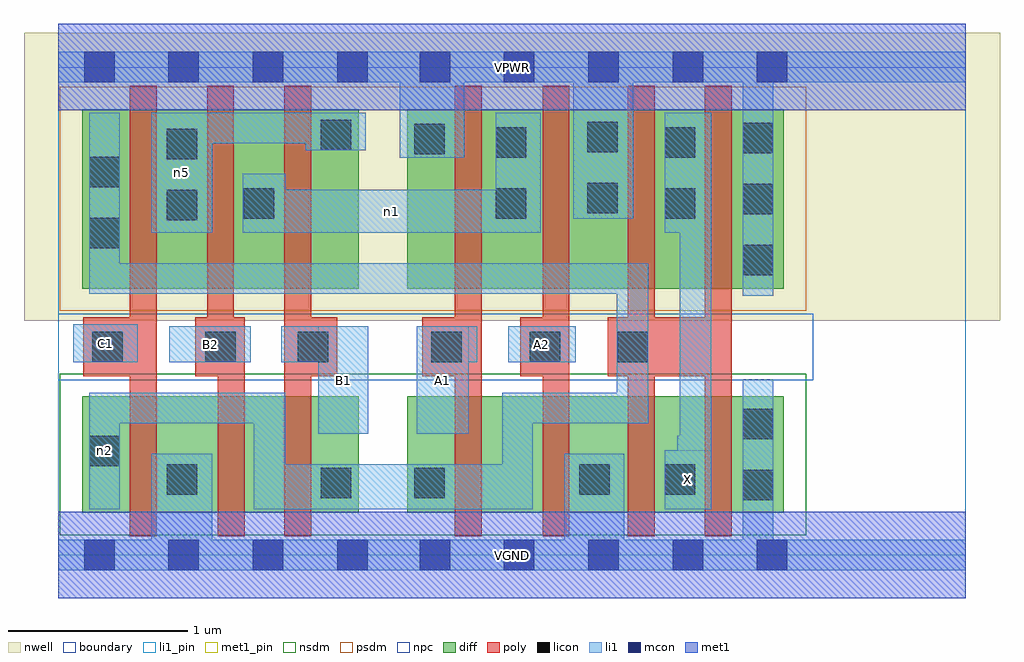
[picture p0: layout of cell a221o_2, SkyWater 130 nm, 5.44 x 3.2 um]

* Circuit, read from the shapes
.subckt a221o_2 A1 A2 B1 B2 C1 VGND VPWR X n1 n2 n5
XM1 VGND C1 n2 VSUBS sky130_fd_pr__nfet_01v8 w=0.65 l=0.15
XM2 n3 B2 VGND VSUBS sky130_fd_pr__nfet_01v8 w=0.65 l=0.15
XM3 n2 B1 n3 VSUBS sky130_fd_pr__nfet_01v8 w=0.65 l=0.15
XM4 n4 A1 n2 VSUBS sky130_fd_pr__nfet_01v8 w=0.65 l=0.15
XM5 VGND A2 n4 VSUBS sky130_fd_pr__nfet_01v8 w=0.65 l=0.15
XM6 X n2 VGND VSUBS sky130_fd_pr__nfet_01v8 w=0.65 l=0.15 m=2
XM7 n5 C1 n2 n6 sky130_fd_pr__pfet_01v8 w=1 l=0.15
XM8 n1 B2 n5 n6 sky130_fd_pr__pfet_01v8 w=1 l=0.15
XM9 n5 B1 n1 n6 sky130_fd_pr__pfet_01v8 w=1 l=0.15
XM10 n1 A1 VPWR n6 sky130_fd_pr__pfet_01v8 w=1 l=0.15
XM11 VPWR A2 n1 n6 sky130_fd_pr__pfet_01v8 w=1 l=0.15
XM12 X n2 VPWR n6 sky130_fd_pr__pfet_01v8 w=1 l=0.15 m=2
.ends

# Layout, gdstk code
import gdstk
lib = gdstk.Library(unit=1e-6, precision=1e-09)
def R(c, l, rs):  # rectangles x0, y0, x1, y1
    for r in rs: c.add(gdstk.rectangle(r[:2], r[2:], *l))
def A(c, l, x, y, w, h, nx, ny, dx, dy):  # array of equal rectangles
    R(c, l, [(x+i*dx, y+j*dy, x+i*dx+w, y+j*dy+h) for i in range(nx) for j in range(ny)])
nwell = (64, 20)
diff = (65, 20)
poly = (66, 20)
licon = (66, 44)
li1_pin = (67, 16)
li1 = (67, 20)
mcon = (67, 44)
met1_pin = (68, 16)
met1 = (68, 20)
nsdm = (93, 44)
psdm = (94, 20)
npc = (95, 20)
boundary = (235, 4)

a221o_2 = lib.new_cell('a221o_2')
R(a221o_2, nwell, [(-0.19,1.305,5.25,2.91), (0,1.305,5.06,2.91)])
R(a221o_2, diff, [(0.135,0.235,1.675,0.885), (1.945,0.235,4.045,0.885), (0.135,1.485,1.675,2.485), (1.945,1.485,4.045,2.485)])
R(a221o_2, poly, [(0.4,0.105,0.55,2.615), (0.89,0.105,1.04,1.325), (1.26,0.105,1.41,2.615), (2.21,0.105,2.36,2.615), (2.7,0.105,2.85,2.615), (3.175,0.105,3.325,2.615), (3.605,0.105,3.755,2.615), (0.14,0.995,0.55,1.325), (0.765,0.995,1.04,1.325), (0.83,0.995,0.98,2.615), (1.26,0.995,1.555,1.325), (2.03,0.995,2.36,1.325), (2.575,0.995,2.85,1.325), (3.065,0.995,3.755,1.325)])
A(a221o_2, licon, 3.815, 1.56, 0.17, 0.17, 1, 3, 0, 0.34)
R(a221o_2, licon, [(3.815,0.305,3.985,0.475), (1.465,0.315,1.635,0.485), (1.985,0.315,2.155,0.485), (0.605,0.335,0.775,0.505), (2.905,0.335,3.075,0.505), (3.38,0.335,3.55,0.505), (0.175,0.495,0.345,0.665), (3.815,0.645,3.985,0.815), (0.19,1.075,0.36,1.245), (0.82,1.075,0.99,1.245), (1.335,1.075,1.505,1.245), (2.08,1.075,2.25,1.245), (2.63,1.075,2.8,1.245), (3.12,1.075,3.29,1.245), (0.175,1.71,0.345,1.88), (0.605,1.865,0.775,2.035), (1.035,1.875,1.205,2.045), (2.44,1.875,2.61,2.045), (3.38,1.875,3.55,2.045), (2.95,1.905,3.12,2.075), (0.175,2.05,0.345,2.22), (0.605,2.205,0.775,2.375), (2.44,2.215,2.61,2.385), (3.38,2.215,3.55,2.385), (1.985,2.235,2.155,2.405), (2.95,2.245,3.12,2.415), (1.465,2.255,1.635,2.425)])
R(a221o_2, li1_pin, [(3.38,0.255,3.64,0.585), (1.45,0.675,1.73,1.275), (2,0.675,2.29,1.275), (0.085,1.075,0.445,1.285), (0.62,1.075,1.075,1.275), (2.51,1.075,2.885,1.275)])
R(a221o_2, li1, [(0,-0.085,5.06,0.085), (0.52,-0.085,0.86,0.565), (2.82,-0.085,3.155,0.565), (3.815,-0.085,3.985,0.98), (0.175,0.255,0.345,0.905), (1.09,0.255,2.645,0.505), (1.09,0.255,1.265,0.905), (2.475,0.255,2.645,0.905), (3.38,0.255,3.64,0.585), (3.45,0.255,3.64,0.665), (3.465,0.255,3.64,2.465), (1.45,0.675,1.73,1.275), (2,0.675,2.29,1.275), (0.175,0.735,1.265,0.905), (2.475,0.735,3.29,0.905), (3.115,0.735,3.29,1.625), (0.085,1.075,0.445,1.285), (0.62,1.075,1.075,1.275), (1.245,1.075,1.73,1.275), (2,1.075,2.335,1.275), (2.51,1.075,2.885,1.275), (3.815,1.445,3.985,2.805), (0.175,1.455,3.29,1.625), (0.175,1.455,0.345,2.465), (0.52,1.795,0.86,2.465), (1.03,1.795,2.69,2.035), (1.03,1.795,1.27,2.125), (2.44,1.795,2.69,2.465), (3.38,1.795,3.64,2.465), (2.87,1.875,3.205,2.805), (1.905,2.215,2.265,2.805), (1.38,2.255,1.715,2.465), (0.52,2.295,1.715,2.465), (0,2.635,5.06,2.805)])
A(a221o_2, mcon, 0.145, -0.085, 0.17, 0.17, 4, 2, 0.47, 2.72)
A(a221o_2, mcon, 2.015, -0.085, 0.17, 0.17, 5, 2, 0.47, 2.72)
R(a221o_2, met1_pin, [(0,-0.24,5.06,0.24), (0,2.48,5.06,2.96)])
R(a221o_2, met1, [(0,-0.24,5.06,0.24), (0,2.48,5.06,2.96)])
R(a221o_2, nsdm, [(0.01,0.11,4.17,1.01)])
R(a221o_2, psdm, [(0.01,1.36,4.17,2.61)])
R(a221o_2, npc, [(0,0.975,4.21,1.345)])
R(a221o_2, boundary, [(0,0,5.06,2.72)])
a221o_2.add(gdstk.Label('A1', (2.145,0.975), layer=67, texttype=5))
a221o_2.add(gdstk.Label('A2', (2.697,1.175), layer=67, texttype=5))
a221o_2.add(gdstk.Label('B1', (1.59,0.975), layer=67, texttype=5))
a221o_2.add(gdstk.Label('B2', (0.847,1.175), layer=67, texttype=5))
a221o_2.add(gdstk.Label('C1', (0.265,1.18), layer=67, texttype=5))
a221o_2.add(gdstk.Label('X', (3.51,0.42), layer=67, texttype=5))
a221o_2.add(gdstk.Label('n2', (0.26,0.58), layer=67, texttype=5))
a221o_2.add(gdstk.Label('n5', (0.69,2.13), layer=67, texttype=5))
a221o_2.add(gdstk.Label('n1', (1.86,1.915), layer=67, texttype=5))
a221o_2.add(gdstk.Label('VPWR', (2.53,2.72), layer=68, texttype=5))
a221o_2.add(gdstk.Label('VGND', (2.53,0), layer=68, texttype=5))
a221o_2.add(gdstk.Label('A1', (2.145,0.975), layer=67, texttype=16))
a221o_2.add(gdstk.Label('A2', (2.697,1.175), layer=67, texttype=16))
a221o_2.add(gdstk.Label('B1', (1.59,0.975), layer=67, texttype=16))
a221o_2.add(gdstk.Label('B2', (0.847,1.175), layer=67, texttype=16))
a221o_2.add(gdstk.Label('C1', (0.265,1.18), layer=67, texttype=16))
a221o_2.add(gdstk.Label('X', (3.51,0.42), layer=67, texttype=16))
a221o_2.add(gdstk.Label('VPWR', (2.53,2.72), layer=68, texttype=16))
a221o_2.add(gdstk.Label('VGND', (2.53,0), layer=68, texttype=16))

lib.write_gds('a221o_2.gds')
